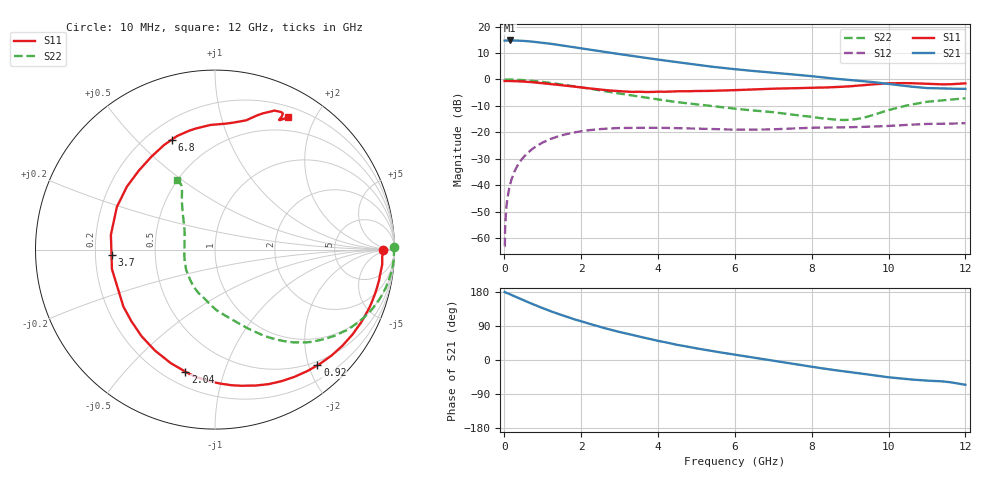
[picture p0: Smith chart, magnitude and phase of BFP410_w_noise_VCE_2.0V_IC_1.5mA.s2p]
! Infineon Technologies  Discrete & RF Semiconductors
! BFP410
! VCE =  2.0 V,  IC =  1.5 mA
! Common Emitter S-Parameters:  Nov 2015
# GHz  S  MA  R  50
!  f  S11  S21  S12  S22
! GHz  MAG  ANG  MAG  ANG  MAG  ANG  MAG  ANG
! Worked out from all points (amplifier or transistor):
!   243 points, 10 MHz to 12 GHz, reference 50 ohm
!   highest |S21| = 14.7 dB at 150 MHz (marker M1)
!   |S21| within 3 dB of that: start of sweep to 2.01 GHz
!   unconditionally stable (mu >= 1): 4.309 GHz to end of sweep
!   at 240 MHz: K = 0.03, MSG = 25.3 dB, |S12| = -35.8 dB
!   at 1.84 GHz: K = 0.33, MSG = 16.1 dB, |S12| = -20.0 dB
!   at 12 GHz: K = 1.20, MAG = 3.8 dB, |S12| = -16.6 dB
!   lowest NFmin = 0.80 dB at 900 MHz
!   S11 on the Smith chart (normalised r, x): 10 MHz: 31, +0; 920 MHz: 0.43, -2.15; 2.04 GHz: 0.28, -0.75; 3.7 GHz: 0.27, -0.03; 6.8 GHz: 0.30, +0.64; 12 GHz: 0.32, +1.65
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0.01  0.9366 0.0  5.419 179.5  0.0007 11.5  1 0.7
0.015  0.937 -0.4  5.429 179.3  0.0007 64.7  0.9969 0.4
0.025  0.9365 -1.1  5.437 178.9  0.0016 92.0  0.9945 -0.2
0.05  0.9324 -2.5  5.427 177.3  0.0034 91.0  0.9975 -1.1
0.15  0.9303 -7.8  5.455 173.3  0.0102 85.6  0.9962 -4.1
0.5  0.9099 -26.4  5.353 157.8  0.0336 75.4  0.9701 -13.9
0.92  0.8608 -48.5  5.012 140.1  0.0594 63.0  0.9101 -24.8
1.2  0.8217 -63.1  4.728 129.1  0.0745 55.1  0.8595 -31.5
1.4  0.7907 -73.3  4.502 121.6  0.0835 49.6  0.8209 -35.8
1.7  0.7468 -87.9  4.184 111.3  0.0951 42.1  0.7649 -41.5
2.02  0.7027 -102.8  3.852 101.3  0.1048 34.9  0.7069 -47.0
2.04  0.6993 -103.7  3.832 100.7  0.1052 34.5  0.7031 -47.3
2.8  0.6137 -139.3  3.164 79.0  0.1187 19.4  0.5701 -58.8
3.7  0.5775 -176.8  2.543 57.6  0.1215 6.7  0.4515 -69.8
4.1  0.5845 168.8  2.323 48.7  0.1213 2.3  0.4088 -75.2
5  0.6034 144.4  1.891 30.6  0.1173 -5.3  0.3377 -88.5
6.1  0.6305 122.7  1.535 12.4  0.1119 -9.3  0.2746 -103.7
6.8  0.6583 111.3  1.374 1.2  0.1129 -10.1  0.2462 -116.0
8.2  0.6984 88.5  1.109 -20.9  0.1222 -14.7  0.1863 -152.3
9.2  0.7629 74.4  0.945 -34.6  0.1257 -17.8  0.1792 161.1
10.2  0.8464 65.5  0.788 -47.6  0.1343 -20.4  0.287 129.2
12  0.8422 61.1  0.663 -65.4  0.1485 -31.3  0.4393 118.4
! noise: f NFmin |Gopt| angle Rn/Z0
0.45  0.83  0.58  8  0.37
0.9  0.8  0.56  23  0.31
1.8  1.07  0.45  56  0.26
2.4  1.14  0.41  67  0.25
5.5  2.37  0.4  -150  0.18
10  4.33  0.72  -58  2.98
